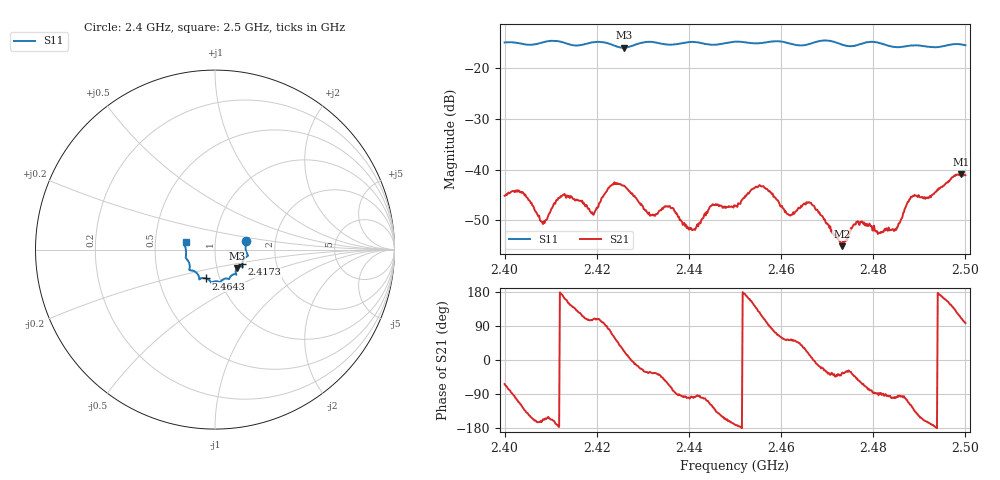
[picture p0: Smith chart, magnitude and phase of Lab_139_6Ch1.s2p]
# Hz S RI R 50
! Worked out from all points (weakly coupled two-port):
!   601 points, 2.4 GHz to 2.5 GHz, reference 50 ohm
!   highest |S21| = -40.91 dB at 2.499 GHz (marker M1); lowest = -55.1 dB at 2.4732 GHz (marker M2)
!   lowest |S11| = -15.9 dB at 2.4258 GHz (marker M3), VSWR 1.38, Z = 62.3 - j13.2 ohm
!   |S11| at or under -10 dB: start of sweep to end of sweep
!   S12 and S22 are empty: the file has one direction only
!   S11 on the Smith chart (normalised r, x): 2.4 GHz: 1.41, +0.14; 2.4173 GHz: 1.34, -0.23; 2.4643 GHz: 0.86, -0.28; 2.5 GHz: 0.72, +0.06
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2.4e9  0.1731 0.0495  0.00249 -0.00496  0 0  0 0
2.404e9  0.1719 0.0254  -0.00354 -0.00477  0 0  0 0
2.408167e9  0.1785 -0.022  -0.00286 -0.000996  0 0  0 0
2.4125e9  0.1773 -0.0385  -0.00549 0.000723  0 0  0 0
2.416667e9  0.1528 -0.0744  -0.0024 0.00422  0 0  0 0
2.417333e9  0.1521 -0.0818  -0.00162 0.00423  0 0  0 0
2.419333e9  0.1537 -0.0959  -0.00116 0.00341  0 0  0 0
2.425833e9  0.1218 -0.1036  0.00634 0.00286  0 0  0 0
2.433333e9  0.1131 -0.1369  0.00295 -0.00238  0 0  0 0
2.440833e9  0.0781 -0.1647  -0.000378 -0.00252  0 0  0 0
2.445e9  0.0559 -0.1615  -0.00227 -0.00385  0 0  0 0
2.45e9  0.0293 -0.1808  -0.0044 -0.000721  0 0  0 0
2.455667e9  -0.00386 -0.1774  -0.00327 0.00601  0 0  0 0
2.461667e9  -0.0281 -0.1745  0.00219 0.00284  0 0  0 0
2.464333e9  -0.0498 -0.1606  0.0034 0.0028  0 0  0 0
2.466667e9  -0.0759 -0.1597  0.00452 0.000475  0 0  0 0
2.473167e9  -0.092 -0.1452  0.00144 -0.00101  0 0  0 0
2.476333e9  -0.1199 -0.1183  0.00202 -0.0023  0 0  0 0
2.483333e9  -0.1405 -0.09  -0.000274 -0.00268  0 0  0 0
2.4885e9  -0.1612 -0.0483  -0.00318 -0.00443  0 0  0 0
2.499e9  -0.1687 0.0368  -0.00331 0.00838  0 0  0 0
2.5e9  -0.1636 0.0424  -0.00116 0.00876  0 0  0 0
